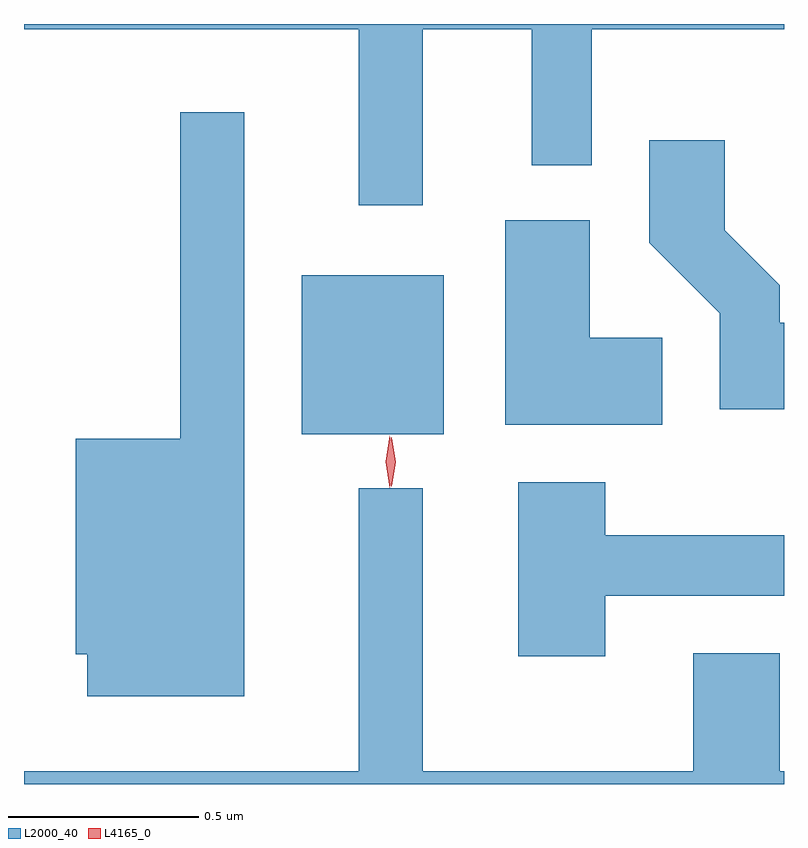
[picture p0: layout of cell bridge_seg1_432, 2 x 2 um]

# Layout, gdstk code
import gdstk
lib = gdstk.Library(unit=1e-6, precision=1e-09)
def R(c, l, rs):  # rectangles x0, y0, x1, y1
    for r in rs: c.add(gdstk.rectangle(r[:2], r[2:], *l))
def P(c, l, *ps):  # polygons
    for p in ps: c.add(gdstk.Polygon(p, *l))
L2000_40 = (2000, 40)
L4165_0 = (4165, 0)

bridge_seg1_432 = lib.new_cell('bridge_seg1_432')
R(bridge_seg1_432, L2000_40, [(350.171,965.111,350.544,965.529)])
P(bridge_seg1_432, L2000_40, [(350.489,966.176),(350.776,966.176),(350.776,965.818),(350.934,965.818),(350.934,966.176),(351.44,966.176),(351.44,966.19),(349.44,966.19),(349.44,966.176),(350.321,966.176),(350.321,965.713),(350.489,965.713)],
  [(350.019,965.958),(349.851,965.958),(349.851,965.099),(349.576,965.099),(349.576,964.531),(349.606,964.531),(349.606,964.421),(350.019,964.421)],
  [(351.44,965.404),(351.429,965.404),(351.429,965.502),(351.284,965.647),(351.284,965.884),(351.086,965.884),(351.086,965.614),(351.271,965.429),(351.271,965.176),(351.44,965.176)],
  [(351.119,965.364),(350.929,965.364),(350.929,965.674),(350.706,965.674),(350.706,965.136),(351.119,965.136)],
  [(350.969,964.686),(351.44,964.686),(351.44,964.844),(350.969,964.844),(350.969,964.984),(350.741,964.984),(350.741,964.526),(350.969,964.526)],
  [(351.44,964.224),(351.429,964.224),(351.429,964.534),(351.201,964.534),(351.201,964.224),(350.489,964.224),(350.489,964.968),(350.321,964.968),(350.321,964.224),(349.44,964.224),(349.44,964.19),(351.44,964.19)])
P(bridge_seg1_432, L4165_0, [(350.407,964.973),(350.397,965.037),(350.407,965.101),(350.408,965.102),(350.408,965.101),(350.418,965.037),(350.408,964.973),(350.408,964.973)],
  [(350.402,964.969),(350.402,964.97),(350.392,965.038),(350.402,965.106),(350.402,965.106),(350.403,965.106),(350.412,965.038),(350.403,964.97)])

lib.write_gds('bridge_seg1_432.gds')
